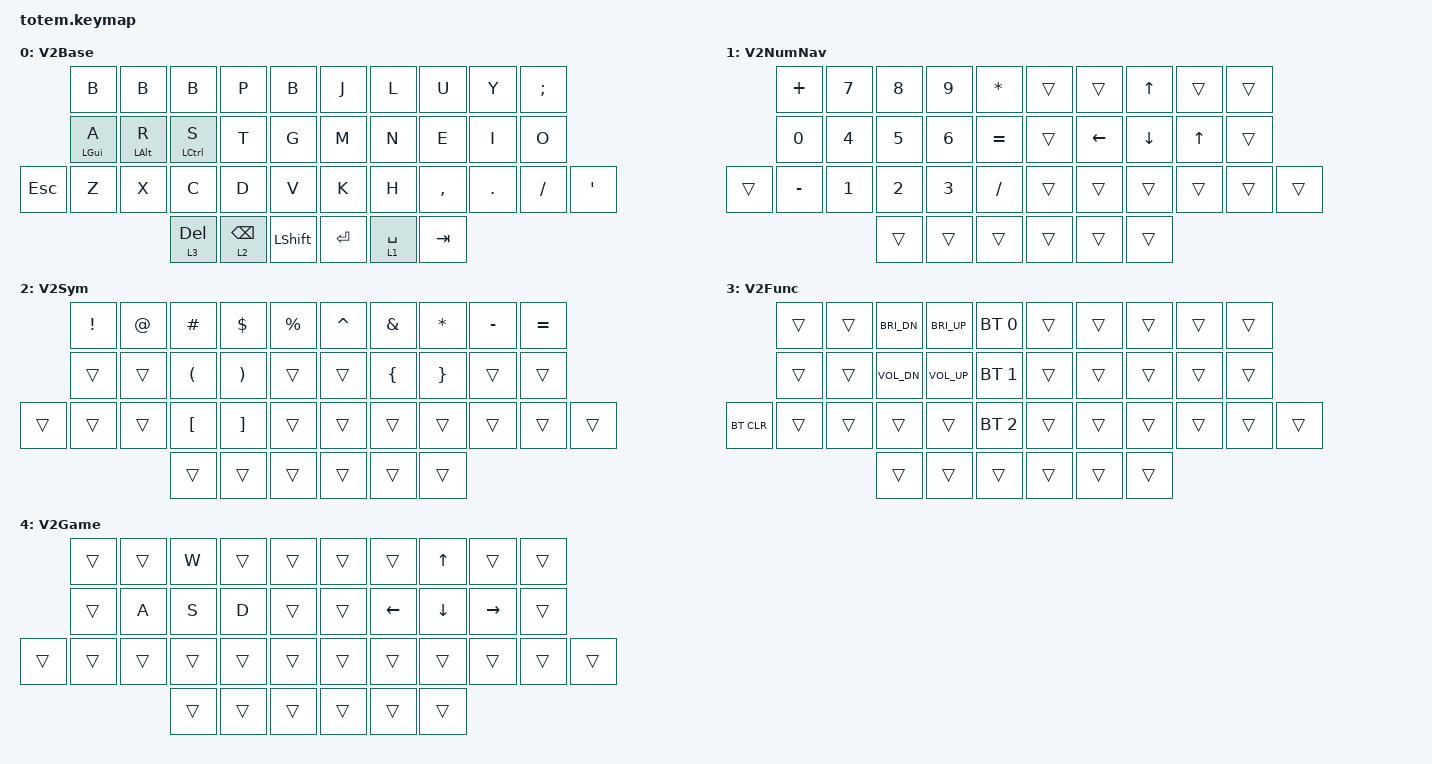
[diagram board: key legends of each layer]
#include <behaviors.dtsi>
#include <dt-bindings/zmk/bt.h>
#include <dt-bindings/zmk/ext_power.h>
#include <dt-bindings/zmk/keys.h>
#include <dt-bindings/zmk/pointing.h>

#define V2Base      0
#define V2NumNav    1
#define V2Sym       2
#define V2Game      3
#define V2Func      4

&mt {
    quick-tap-ms = <100>;
    global-quick-tap;
    flavor = "tap-preferred";
    tapping-term-ms = <170>;
};

&lt {
    tapping-term-ms = <240>;
    flavor = "balanced";
    quick-tap-ms = <150>;
};

/ {
    behaviors {
        hm: homerow_mods {
            compatible = "zmk,behavior-hold-tap";
            label = "HOMEROW_MODS";
            #binding-cells = <2>;
            flavor = "tap-preferred";
            tapping-term-ms = <200>;
            quick-tap-ms = <125>;
            global-quick-tap;
            bindings = <&kp>, <&kp>;
        };
    };

    combos {
        compatible = "zmk,combos";

        Copy {
            bindings = <&kp LC(C)>;
            key-positions = <22 23 23>;
        };

        Paste {
            bindings = <&kp LC(V)>;
            key-positions = <23 24>;
        };

        Cut {
            bindings = <&kp LC(X)>;
            key-positions = <22 24>;
        };

        PasteNoFormat {
            bindings = <&kp LS(LC(V))>;
            key-positions = <22 24 23>;
        };

        CapsLock {
            bindings = <&kp CLCK>;
            key-positions = <13 16>;
        };
    };

    keymap {
        compatible = "zmk,keymap";

        V2Base {
            bindings = <
         &kp B       &kp B       &kp B               &kp P            &kp B         &kp J    &kp L        &kp U      &kp Y    &kp SEMI
         &hm LGUI A  &hm LALT R  &hm LEFT_CONTROL S  &kp T            &kp G         &kp M    &kp N        &kp E      &kp I    &kp O
&kp ESC  &kp Z       &kp X       &kp C               &kp D            &kp V         &kp K    &kp H        &kp COMMA  &kp DOT  &kp FSLH  &kp SQT
                                 &lt 3 DEL           &lt 2 BACKSPACE  &kp LSHIFT    &kp RET  &lt 1 SPACE  &kp TAB
            >;
        };

        V2NumNav {
            bindings = <
        &kp PLUS   &kp N7  &kp N8  &kp N9  &kp STAR     &trans  &trans    &kp UP    &trans  &trans
        &kp N0     &kp N4  &kp N5  &kp N6  &kp EQUAL    &trans  &kp LEFT  &kp DOWN  &kp UP  &trans
&trans  &kp MINUS  &kp N1  &kp N2  &kp N3  &kp FSLH     &trans  &trans    &trans    &trans  &trans  &trans
                           &trans  &trans  &trans       &trans  &trans    &trans
            >;
        };

        V2Sym {
            bindings = <
        &kp EXCL  &kp AT  &kp POUND  &kp DLLR  &kp PRCNT    &kp CARET  &kp AMPS  &kp STAR  &kp MINUS  &kp EQUAL
        &trans    &trans  &kp LPAR   &kp RPAR  &trans       &trans     &kp LBRC  &kp RBRC  &trans     &trans
&trans  &trans    &trans  &kp LBKT   &kp RBKT  &trans       &trans     &trans    &trans    &trans     &trans     &trans
                          &trans     &trans    &trans       &trans     &trans    &trans
            >;
        };

        V2Func {
            bindings = <
            &trans  &trans  &kp C_BRI_DN  &kp C_BRI_UP  &bt BT_SEL 0    &trans  &trans  &trans  &trans  &trans
            &trans  &trans  &kp C_VOL_DN  &kp C_VOL_UP  &bt BT_SEL 1    &trans  &trans  &trans  &trans  &trans
&bt BT_CLR  &trans  &trans  &trans        &trans        &bt BT_SEL 2    &trans  &trans  &trans  &trans  &trans  &trans
                            &trans        &trans        &trans          &trans  &trans  &trans
            >;
        };

        V2Game {
            bindings = <
        &trans  &trans  &kp W   &trans  &trans    &trans  &trans    &kp UP    &trans     &trans
        &trans  &kp A   &kp S   &kp D   &trans    &trans  &kp LEFT  &kp DOWN  &kp RIGHT  &trans
&trans  &trans  &trans  &trans  &trans  &trans    &trans  &trans    &trans    &trans     &trans  &trans
                        &trans  &trans  &trans    &trans  &trans    &trans
            >;
        };
    };
};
